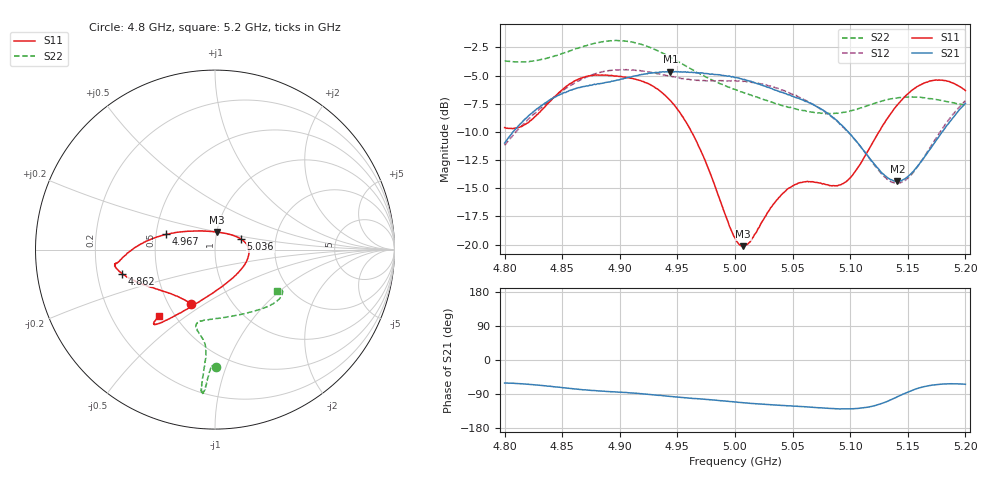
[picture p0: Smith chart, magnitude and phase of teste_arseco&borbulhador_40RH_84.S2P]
! Network Analyzer HP8722D
! Hewlett-Packard
! Data name: Linha & Wilkinson
! Saver's name: Rodrigo Anjos
! Comments: Teste da utilização de aquisição
! continua pelo VNA HP8722D
! Time and date: 15/4/2025 17:03
!  Frequency  S11  S21  S12  S22
# HZ  S  MA R 50
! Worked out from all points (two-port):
!   401 points, 4.8 GHz to 5.2 GHz, reference 50 ohm
!   highest |S21| = -4.64 dB at 4.944 GHz (marker M1); lowest = -14.4 dB at 5.141 GHz (marker M2)
!   |S21| within 3 dB of the highest: 4.832 GHz to 5.069 GHz (236.6 MHz wide, 4.78 % of centre); 5.198419 GHz to end of sweep
!   lowest |S11| = -20.1 dB at 5.007 GHz (marker M3), VSWR 1.22, Z = 50.1 + j9.89 ohm
!   |S11| at or under -10 dB: 4.962 GHz to 5.125 GHz (162.7 MHz wide, 3.23 % of centre)
!   |S22| runs from -8.4 to -1.9 dB; largest |S21 - S12| = 0.88
!   S11 on the Smith chart (normalised r, x): 4.8 GHz: 0.65, -0.44; 4.862 GHz: 0.31, -0.11; 4.967 GHz: 0.57, +0.10; 5.036 GHz: 1.33, +0.16; 5.2 GHz: 0.41, -0.40
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4.8e9  0.3304 -113.7  0.2821 -60.8  0.2757 -175.0  0.6541 -89.5
4.819e9  0.3446 -133.5  0.3649 -63.7  0.3526 -173.4  0.6484 -91.1
4.862e9  0.5365 -165.6  0.4932 -76.6  0.526 -176.3  0.7416 -93.4
4.867e9  0.549 -167.6  0.501 -78.1  0.5417 -177.4  0.7539 -93.8
4.899e9  0.5576 -172.0  0.5374 -84.9  0.5955 175.8  0.8036 -95.1
4.934e9  0.4851 -177.9  0.5817 -93.4  0.5733 171.9  0.72 -95.6
4.944e9  0.4348 177.5  0.5862 -96.2  0.5581 172.0  0.6776 -95.4
4.967e9  0.284 162.6  0.5781 -102.0  0.5356 174.0  0.5796 -94.9
5e9  0.1069 107.1  0.5512 -110.8  0.534 176.5  0.4881 -99.1
5.007e9  0.09832 83.5  0.5402 -112.7  0.5296 176.4  0.4736 -100.8
5.014e9  0.1044 61.0  0.5303 -114.6  0.5254 176.3  0.4616 -102.6
5.036e9  0.1572 21.6  0.4833 -119.1  0.4951 175.0  0.422 -103.8
5.051e9  0.1833 6.1  0.4529 -121.6  0.4616 174.6  0.402 -99.9
5.067e9  0.1901 -11.4  0.42 -124.9  0.4211 173.9  0.387 -91.9
5.087e9  0.1822 -43.7  0.3592 -128.5  0.358 173.6  0.3823 -76.9
5.098e9  0.1932 -67.0  0.3175 -128.9  0.3163 174.6  0.3897 -67.6
5.134e9  0.3737 -116.1  0.1956 -106.8  0.1918 -159.6  0.4419 -43.4
5.141e9  0.4168 -120.0  0.1906 -96.8  0.187 -148.6  0.4479 -40.2
5.153e9  0.4813 -124.9  0.2067 -80.9  0.2041 -130.0  0.4519 -36.0
5.17e9  0.5329 -128.5  0.2679 -66.8  0.2725 -112.9  0.4442 -32.1
5.184e9  0.5316 -129.8  0.3384 -63.0  0.3497 -107.1  0.4314 -31.0
5.2e9  0.4824 -130.3  0.4231 -64.1  0.4348 -106.0  0.4153 -33.3
